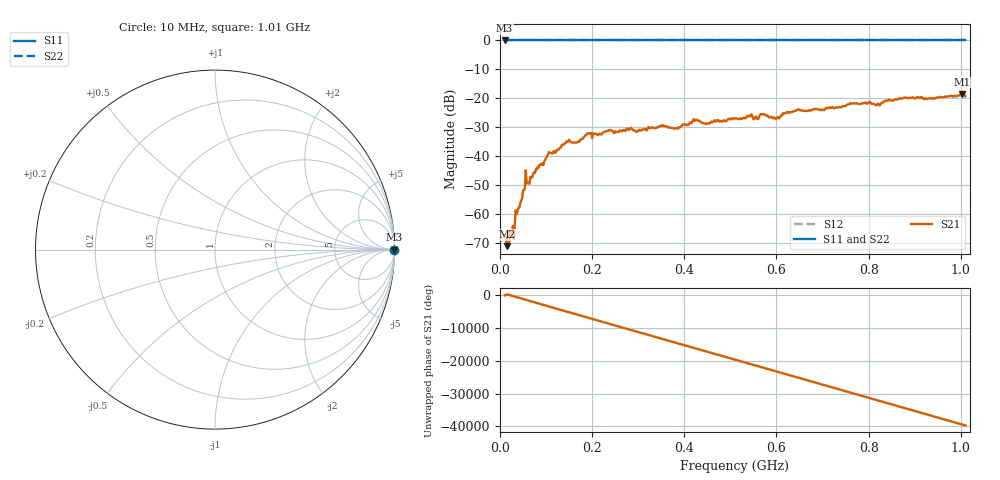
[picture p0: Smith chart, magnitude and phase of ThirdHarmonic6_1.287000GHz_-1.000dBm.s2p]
! 8/16/2025 2:03:21 PM
! C:\ANRITSUVNA\TEMP\TEMP.S2P
! CHANNEL.1
! TR.MEASUREMENT
! RAW.DATA
! RF.CORRECTION.OFF
! AVERAGING.OFF
! IF.BANDWIDTH: 5KHZ
! SWEEPTYPE:  FREQ.SWEEP(Linear)
! Reference Plane Port Info
! PORT:  PORT1  PORT2
! DISTANCE:  0  m  0  m
! TIME:  0  s  0  s
! PHASE.OFFSET:  0  deg.  0  deg.
! LOSS:  0  dB  0  dB
! REF.LOSS:  0  dB  0  dB
! REF.FREQ:  0  Hz  0  Hz
! Power Info
! POWER:  -20  dBm  -20  dBm
! EFF.POWER:  -20  dBm  -20  dBm
! SOURCE.ATTEN:  0  dB  0  dB
! TEST.ATTEN:  0  dB  0  dB
# GHZ S RI R 50.0
! FREQ.GHZ  S11RE  S11IM  S21RE  S21IM  S12RE  S12IM  S22RE  S22IM
!; PortSelection: Port_12
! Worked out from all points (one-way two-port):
!   501 points, 10 MHz to 1.01 GHz, reference 50 ohm
!   highest |S21| = -18.47 dB at 1.002 GHz (marker M1); lowest = -71.0 dB at 16 MHz (marker M2)
!   lowest |S11| = 0.0 dB at 10 MHz (marker M3)
!   |S11| at or under -10 dB: nowhere
!   |S22| runs from 0.0 to 0.0 dB; largest |S21 - S12| = 1.1
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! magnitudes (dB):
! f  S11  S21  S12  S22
! 10 MHz  0.0  -67.8  0.0  0.0
! 16 MHz  0.0  -71.0  0.0  0.0
! 28 MHz  0.0  -64.1  0.0  0.0
! 38 MHz  0.0  -59.1  0.0  0.0
! 58 MHz  0.0  -49.3  0.0  0.0
! 106 MHz  0.0  -38.5  0.0  0.0
! 146 MHz  0.0  -35.0  0.0  0.0
! 178 MHz  0.0  -34.1  0.0  0.0
! 194 MHz  0.0  -32.1  0.0  0.0
! 344 MHz  0.0  -29.9  0.0  0.0
! 382 MHz  0.0  -30.2  0.0  0.0
! 424 MHz  0.0  -27.5  0.0  0.0
! 450 MHz  0.0  -28.5  0.0  0.0
! 510 MHz  0.0  -27.0  0.0  0.0
! 570 MHz  0.0  -25.5  0.0  0.0
! 602 MHz  0.0  -26.4  0.0  0.0
! 644 MHz  0.0  -24.1  0.0  0.0
! 678 MHz  0.0  -23.9  0.0  0.0
! 820 MHz  0.0  -21.8  0.0  0.0
! 844 MHz  0.0  -20.6  0.0  0.0
! 1.002 GHz  0.0  -18.5  0.0  0.0
! 1.01 GHz  0.0  -19.2  0.0  0.0
